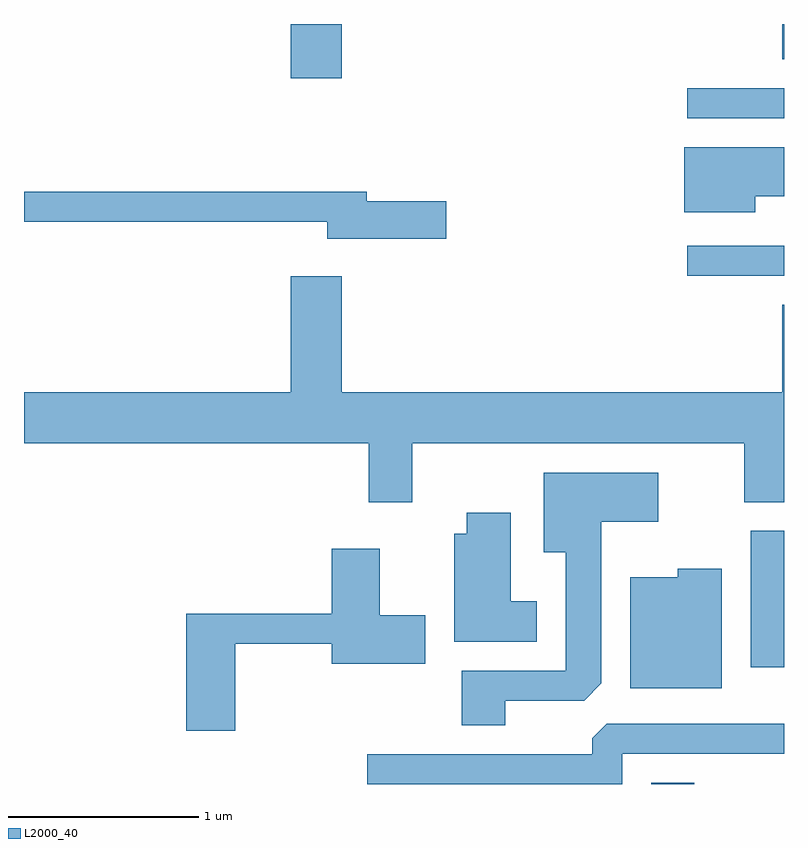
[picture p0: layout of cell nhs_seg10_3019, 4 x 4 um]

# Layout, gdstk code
import gdstk
lib = gdstk.Library(unit=1e-6, precision=1e-09)
def R(c, l, rs):  # rectangles x0, y0, x1, y1
    for r in rs: c.add(gdstk.rectangle(r[:2], r[2:], *l))
def P(c, l, *ps):  # polygons
    for p in ps: c.add(gdstk.Polygon(p, *l))
L2000_40 = (2000, 40)

nhs_seg10_3019 = lib.new_cell('nhs_seg10_3019')
R(nhs_seg10_3019, L2000_40, [(276.911,2156.522,277.139,2156.529), (277.436,2157.136,277.611,2157.854), (277.103,2159.196,277.611,2159.354), (277.103,2160.026,277.611,2160.184), (275.016,2160.236,275.284,2160.522), (277.601,2160.336,277.611,2160.522)])
P(nhs_seg10_3019, L2000_40, [(277.459,2159.616),(277.611,2159.616),(277.611,2159.874),(277.086,2159.874),(277.086,2159.531),(277.459,2159.531)],
  [(275.834,2159.589),(275.414,2159.589),(275.414,2159.639),(273.611,2159.639),(273.611,2159.481),(275.206,2159.481),(275.206,2159.391),(275.834,2159.391)],
  [(275.654,2158.316),(277.401,2158.316),(277.401,2158.006),(277.611,2158.006),(277.611,2159.044),(277.601,2159.044),(277.601,2158.584),(275.284,2158.584),(275.284,2159.194),(275.016,2159.194),(275.016,2158.584),(273.611,2158.584),(273.611,2158.316),(275.426,2158.316),(275.426,2158.006),(275.654,2158.006)],
  [(276.144,2156.961),(276.559,2156.961),(276.649,2157.052),(276.649,2157.901),(276.949,2157.901),(276.949,2158.159),(276.346,2158.159),(276.346,2157.741),(276.461,2157.741),(276.461,2157.119),(275.916,2157.119),(275.916,2156.831),(276.144,2156.831)],
  [(276.309,2157.484),(276.174,2157.484),(276.174,2157.949),(275.941,2157.949),(275.941,2157.839),(275.876,2157.839),(275.876,2157.271),(276.309,2157.271)],
  [(274.724,2157.261),(275.231,2157.261),(275.231,2157.156),(275.724,2157.156),(275.724,2157.409),(275.484,2157.409),(275.484,2157.759),(275.231,2157.759),(275.231,2157.419),(274.466,2157.419),(274.466,2156.801),(274.724,2156.801)],
  [(277.284,2157.654),(277.051,2157.654),(277.051,2157.609),(276.801,2157.609),(276.801,2157.026),(277.284,2157.026)],
  [(276.759,2156.681),(277.611,2156.681),(277.611,2156.839),(276.677,2156.839),(276.601,2156.764),(276.601,2156.679),(275.418,2156.679),(275.418,2156.522),(276.759,2156.522)])

lib.write_gds('nhs_seg10_3019.gds')
